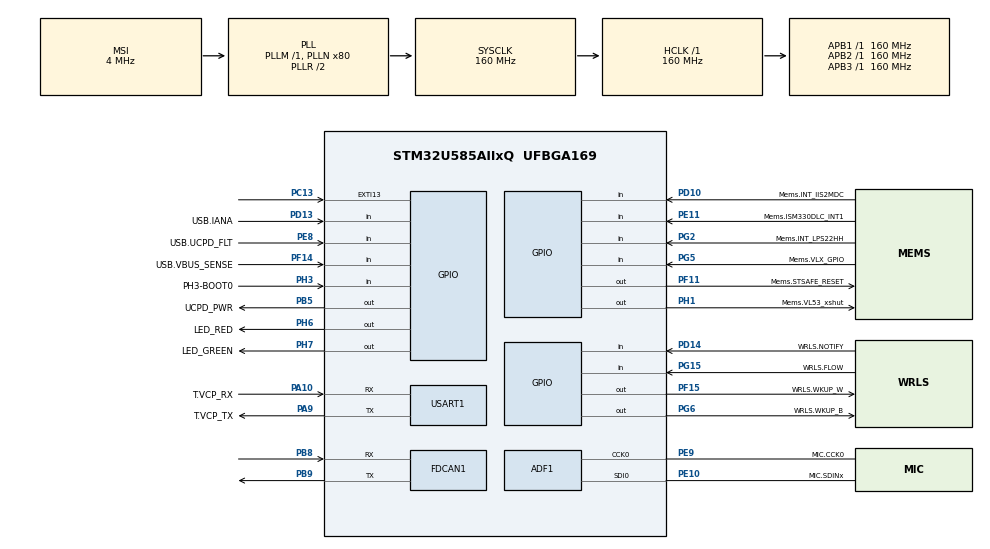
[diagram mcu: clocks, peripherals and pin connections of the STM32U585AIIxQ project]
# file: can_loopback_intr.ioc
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CORTEX_M33_NS.userName=CORTEX_M33
FDCAN1.CalculateBaudRateNominal=1000000
FDCAN1.CalculateTimeBitNominal=1000
FDCAN1.CalculateTimeQuantumNominal=50.0
FDCAN1.DataPrescaler=4
FDCAN1.DataTimeSeg1=15
FDCAN1.DataTimeSeg2=4
FDCAN1.Mode=FDCAN_MODE_EXTERNAL_LOOPBACK
FDCAN1.NominalPrescaler=8
FDCAN1.NominalSyncJumpWidth=1
FDCAN1.NominalTimeSeg1=15
FDCAN1.NominalTimeSeg2=4
Mcu.Family=STM32U5
Mcu.Name=STM32U585AIIxQ
Mcu.Package=UFBGA169
NVIC.EXTI13_IRQn=true\:0\:0\:false\:false\:true\:true\:true\:true
NVIC.FDCAN1_IT0_IRQn=true\:0\:0\:false\:false\:true\:true\:true\:true
NVIC.FDCAN1_IT1_IRQn=true\:0\:0\:false\:false\:true\:true\:true\:true
NVIC.PriorityGroup=NVIC_PRIORITYGROUP_4
PA10.GPIO_Label=T.VCP_RX
PA10.Mode=Asynchronous
PA10.Signal=USART1_RX
PA11.GPIO_Label=USB.C_P
PA11.Signal=USB_OTG_FS_DM
PA12.GPIO_Label=USB.C_P
PA12.Signal=USB_OTG_FS_DP
PA13\ (JTMS/SWDIO).GPIO_Label=T.SWDIO
PA13\ (JTMS/SWDIO).Mode=Trace_Asynchronous_SW
PA13\ (JTMS/SWDIO).Signal=DEBUG_JTMS-SWDIO
PA14\ (JTCK/SWCLK).GPIO_Label=T.SWCLK
PA14\ (JTCK/SWCLK).Mode=Trace_Asynchronous_SW
PA14\ (JTCK/SWCLK).Signal=DEBUG_JTCK-SWCLK
PA15\ (JTDI).GPIO_Label=USB.UCPD_CC1
PA15\ (JTDI).Signal=UCPD1_CC1
PA9.GPIO_Label=T.VCP_TX
PA9.Mode=Asynchronous
PA9.Signal=USART1_TX
PB1.GPIO_Label=MIC.SDIN0
PB1.Signal=MDF1_SDI0
PB10.GPIO_Label=OCTOSPI.R_CLK_P
PB10.Signal=OCTOSPIM_P1_CLK
PB11.GPIO_Label=OCTOSPI.R_NCS
PB11.Signal=OCTOSPIM_P1_NCS
PB12.GPIO_Label=WRLS.SPI2_NSS
PB12.Signal=SPI2_NSS
PB15.GPIO_Label=USB.UCPD_CC2
PB15.Signal=UCPD1_CC2
PB3\ (JTDO/TRACESWO).GPIO_Label=T.SWO
PB3\ (JTDO/TRACESWO).Mode=Trace_Asynchronous_SW
PB3\ (JTDO/TRACESWO).Signal=DEBUG_JTDO-SWO
PB5.GPIO_Label=UCPD_PWR
PB5.Signal=GPIO_Output
PB8.Mode=FDCAN_Activate
PB8.Signal=FDCAN1_RX
PB9.Mode=FDCAN_Activate
PB9.Signal=FDCAN1_TX
PC10.GPIO_Label=WRLS.UART4_TX
PC10.Signal=UART4_TX
PC11.GPIO_Label=WRLS.UART4_RX
PC11.Signal=UART4_RX
PC13.GPIO_ModeDefaultEXTI=GPIO_MODE_IT_FALLING
PC13.Signal=GPXTI13
PC14-OSC32_IN\ (PC14).GPIO_Label=PC14-OSC32_IN
PC14-OSC32_IN\ (PC14).Mode=LSE-External-Oscillator
PC14-OSC32_IN\ (PC14).Signal=RCC_OSC32_IN
PC15-OSC32_OUT\ (PC15).GPIO_Label=PC15-OSC32_OUT
PC15-OSC32_OUT\ (PC15).Mode=LSE-External-Oscillator
PC15-OSC32_OUT\ (PC15).Signal=RCC_OSC32_OUT
PC3.GPIO_Label=OCTOSPI.R_IO6
PC3.Signal=OCTOSPIM_P1_IO6
PD1.GPIO_Label=WRLS.SPI2_SCK
PD1.Signal=SPI2_SCK
PD10.GPIO_Label=Mems.INT_IIS2MDC
PD10.Signal=GPIO_Input
PD13.GPIO_Label=USB.IANA
PD13.Signal=GPIO_Input
PD14.GPIO_Label=WRLS.NOTIFY
PD14.Signal=GPIO_Input
PD3.GPIO_Label=WRLS.SPI2_MISO
PD3.Signal=SPI2_MISO
PD4.GPIO_Label=WRLS.SPI2_MOSI
PD4.Signal=SPI2_MOSI
PD7.GPIO_Label=OCTOSPI.R_IO7
PD7.Signal=OCTOSPIM_P1_IO7
PE10.GPIO_Label=MIC.SDINx
PE10.Mode=MOD_ADF_CCK
PE10.Signal=ADF1_SDI0
PE11.GPIO_Label=Mems.ISM330DLC_INT1
PE11.Signal=GPIO_Input
PE3.GPIO_Label=OCTOSPI.R_DQS
PE3.Signal=OCTOSPIM_P1_DQS
PE8.GPIO_Label=USB.UCPD_FLT
PE8.Signal=GPIO_Input
PE9.GPIO_Label=MIC.CCK0
PE9.Mode=MOD_MDF_CCK0
PE9.Signal=ADF1_CCK0
PF0.GPIO_Label=OCTOSPI.F_IO0
PF0.Signal=OCTOSPIM_P2_IO0
PF1.GPIO_Label=OCTOSPI.F_IO1
PF1.Signal=OCTOSPIM_P2_IO1
PF10.GPIO_Label=MIC.CCK1
PF10.Signal=MDF1_CCK1
PF11.GPIO_Label=Mems.STSAFE_RESET
PF11.Signal=GPIO_Output
PF12.GPIO_Label=OCTOSPI.F_DQS
PF12.Signal=OCTOSPIM_P2_DQS
PF14.GPIO_Label=USB.VBUS_SENSE
PF14.Signal=GPIO_Input
PF15.GPIO_Label=WRLS.WKUP_W
PF15.Signal=GPIO_Output
PF2.GPIO_Label=OCTOSPI.F_IO2
PF2.Signal=OCTOSPIM_P2_IO2
PF3.GPIO_Label=OCTOSPI.F_IO3
PF3.Signal=OCTOSPIM_P2_IO3
PF4.GPIO_Label=OCTOSPI.F_CLK_P
PF4.Signal=OCTOSPIM_P2_CLK
PF6.GPIO_Label=OCTOSPI.R_IO3
PF6.Signal=OCTOSPIM_P1_IO3
PF7.GPIO_Label=OCTOSPI.R_IO2
PF7.Signal=OCTOSPIM_P1_IO2
PF8.GPIO_Label=OCTOSPI.R_IO0
PF8.Signal=OCTOSPIM_P1_IO0
PF9.GPIO_Label=OCTOSPI.R_IO1
PF9.Signal=OCTOSPIM_P1_IO1
PG15.GPIO_Label=WRLS.FLOW
PG15.Signal=GPIO_Input
PG2.GPIO_Label=Mems.INT_LPS22HH
PG2.Signal=GPIO_Input
PG5.GPIO_Label=Mems.VLX_GPIO
PG5.Signal=GPIO_Input
PG6.GPIO_Label=WRLS.WKUP_B
PG6.Signal=GPIO_Output
PH1-OSC_OUT\ (PH1).GPIO_Label=Mems.VL53_xshut
PH1-OSC_OUT\ (PH1).Signal=GPIO_Output
PH10.GPIO_Label=OCTOSPI.F_IO5
PH10.Signal=OCTOSPIM_P2_IO5
PH11.GPIO_Label=OCTOSPI.F_IO6
PH11.Signal=OCTOSPIM_P2_IO6
PH12.GPIO_Label=OCTOSPI.F_IO7
PH12.Signal=OCTOSPIM_P2_IO7
PH2.GPIO_Label=OCTOSPI.R_IO4
PH2.Signal=OCTOSPIM_P1_IO4
PH3-BOOT0.GPIO_Label=PH3-BOOT0
PH3-BOOT0.Signal=GPIO_Input
PH4.Signal=I2C2_SCL
PH5.Signal=I2C2_SDA
PH6.GPIO_Label=LED_RED
PH6.Signal=GPIO_Output
PH7.GPIO_Label=LED_GREEN
PH7.Signal=GPIO_Output
PH9.GPIO_Label=OCTOSPI.F_IO4
PH9.Signal=OCTOSPIM_P2_IO4
PI0.GPIO_Label=OCTOSPI.R_IO5
PI0.Signal=OCTOSPIM_P1_IO5
PI5.GPIO_Label=OCTOSPI.F_NCS
PI5.Signal=OCTOSPIM_P2_NCS
PWR.PowerMode=PWR_SMPS_SUPPLY
ProjectManager.HeapSize=0x200
ProjectManager.StackSize=0x400
ProjectManager.TargetToolchain=STM32CubeIDE
RCC.ADCFreq_Value=16000000
RCC.AHBFreq_Value=160000000
RCC.APB1Freq_Value=160000000
RCC.APB1TimFreq_Value=160000000
RCC.APB2Freq_Value=160000000
RCC.APB2TimFreq_Value=160000000
RCC.APB3Freq_Value=160000000
RCC.CortexFreq_Value=160000000
RCC.DACCLockSelectionVirtual=RCC_DAC1CLKSOURCE_LSI
RCC.EPOD_VALUE=4000000
RCC.HCLKFreq_Value=160000000
RCC.HSE_VALUE=16000000
RCC.HSI48_VALUE=48000000
RCC.HSI_VALUE=16000000
RCC.LSIDIV_VALUE=32000
RCC.MSI_VALUE=4000000
RCC.PLLN=80
RCC.SYSCLKFreq_VALUE=160000000
RCC.SYSCLKSource=RCC_SYSCLKSOURCE_PLLCLK
RCC.USBFreq_Value=48000000
RCC.VCOOutputFreq_Value=320000000
USART1.VirtualMode-Asynchronous=VM_ASYNC
VP_ICACHE_VS_ICACHE.Mode=DirectMappedCache
VP_LPBAMQUEUE_VS_QUEUE.Mode=QUEUEMODE
VP_LPBAM_VS_SIG1.Mode=SmartRun
VP_LPBAM_VS_SIG4.Mode=LPDMA1
VP_MEMORYMAP_VS_MEMORYMAP.Mode=CurAppReg
VP_PWR_VS_DBSignals.Mode=DisableDeadBatterySignals
VP_PWR_VS_LPOM.Mode=PowerOptimisation
VP_PWR_VS_SECSignals.Mode=Security/Privilege
board=B-U585I-IOT02A

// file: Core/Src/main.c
/* USER CODE BEGIN Header */
/**
  ******************************************************************************
  * @file           : main.c
  * @brief          : Main program body
  ******************************************************************************
  * @attention
  *
  * Copyright (c) 2026 STMicroelectronics.
  * All rights reserved.
  *
  * This software is licensed under terms that can be found in the LICENSE file
  * in the root directory of this software component.
  * If no LICENSE file comes with this software, it is provided AS-IS.
  *
  ******************************************************************************
  */
/* USER CODE END Header */
#include "main.h"

/* USER CODE BEGIN Includes */
#include <stdio.h>
/* USER CODE END Includes */

MDF_HandleTypeDef AdfHandle0;
MDF_FilterConfigTypeDef AdfFilterConfig0;

FDCAN_HandleTypeDef hfdcan1;

UART_HandleTypeDef huart1;

/* USER CODE BEGIN PV */
static FDCAN_FilterTypeDef   sFilterConfig;
/* USER CODE END PV */

void SystemClock_Config(void);
static void SystemPower_Config(void);
static void MX_GPIO_Init(void);
static void MX_ADF1_Init(void);
static void MX_FDCAN1_Init(void);
static void MX_ICACHE_Init(void);
static void MX_USART1_UART_Init(void);

/* USER CODE BEGIN 0 */
int __io_putchar(int ch)
{
    /* Support printf over UART */
    (void)HAL_UART_Transmit(&huart1, (uint8_t*)&ch, 1, 0xFFFFU);
    return ch;
}

void my_fdcan1_transmit()
{
	FDCAN_TxHeaderTypeDef TxHeader;
	uint8_t TxData[] = {'C', 'A', 'N', 'I','S','F','U','N'}; // Example data

	// 1. Configure the TX Header
	TxHeader.Identifier = 0x111U;                // CAN ID
	TxHeader.IdType = FDCAN_STANDARD_ID; //standard or extended
	TxHeader.TxFrameType = FDCAN_DATA_FRAME; //data frame or request frame
	//TODO: Data length
	TxHeader.DataLength = FDCAN_DLC_BYTES_8;    // Length 4 bytes
	TxHeader.ErrorStateIndicator = FDCAN_ESI_ACTIVE;
	TxHeader.BitRateSwitch = FDCAN_BRS_OFF;     // No BRS for classic CAN
	TxHeader.FDFormat = FDCAN_CLASSIC_CAN;      // Classic or FD format
	TxHeader.TxEventFifoControl = FDCAN_NO_TX_EVENTS;
	TxHeader.MessageMarker = 0;

	// 2. Transmit the message
	if (HAL_FDCAN_AddMessageToTxFifoQ(&hfdcan1, &TxHeader, TxData) != HAL_OK)
	{
		printf("Stm32u585 Error calling HAL_FDCAN_AddMessageToTxFifoQ\r\n");
	  // Transmission error
	  Error_Handler();
	}
	// No need to poll, tx complete callback will be called in case of interrupts
//	while(HAL_FDCAN_IsTxBufferMessagePending(&hfdcan1, FDCAN_TX_BUFFER0 | FDCAN_TX_BUFFER1 | FDCAN_TX_BUFFER2) != 0);
//	printf("Stm32u585 Transmitted %lu bytes\r\n",TxHeader.DataLength);

}

void my_fdcan1_receive()
{
	FDCAN_RxHeaderTypeDef RxHeader;
	uint8_t RxData[16];

	/* check if FIFO 0 receive at least one message */
	while (HAL_FDCAN_GetRxFifoFillLevel(&hfdcan1, FDCAN_RX_FIFO0) < 1U);

	if(HAL_FDCAN_GetRxMessage(&hfdcan1, FDCAN_RX_FIFO0, &RxHeader, RxData) != HAL_OK)
	{
		printf("Stm32u585 Error calling HAL_FDCAN_GetRxMessage\r\n");
		Error_Handler();
	}
	else
	{
		printf("Message Received HAL_FDCAN_GetRxMessage\r\n");
		for(int i = 0; i < 8; ++i)
		{
			printf("RxData[%d] = %c\r\n",i,RxData[i]);
		}
	}
}

void my_config_filter()
{
	/* Configure Rx filter */
	sFilterConfig.IdType       = FDCAN_STANDARD_ID;
	sFilterConfig.FilterIndex  = 0U;
	sFilterConfig.FilterType   = FDCAN_FILTER_MASK;
	sFilterConfig.FilterConfig = FDCAN_FILTER_TO_RXFIFO0;
	sFilterConfig.FilterID1    = 0x111U;
	sFilterConfig.FilterID2    = 0x7FFU;
	if (HAL_FDCAN_ConfigFilter(&hfdcan1, &sFilterConfig) != HAL_OK) {
		printf("Stm32u585 Error calling HAL_FDCAN_ConfigFilter\r\n");
		Error_Handler();
	}
}

void HAL_GPIO_EXTI_Falling_Callback(uint16_t GPIO_Pin)
{
	printf("Stm32u585 User Button pressed\r\n");
	my_fdcan1_transmit();
}

void HAL_FDCAN_TxEventFifoCallback(FDCAN_HandleTypeDef *hfdcan, uint32_t TxEventFifoITs)
{
}

void HAL_FDCAN_RxFifo0Callback(FDCAN_HandleTypeDef *hfdcan, uint32_t RxFifo0ITs)
{
	printf("Stm32u585 Transmitted HAL_FDCAN_RxFifo0Callback\r\n");
	FDCAN_RxHeaderTypeDef RxHeader;
	uint8_t RxData[16];

	/* No need to poll */
	//while (HAL_FDCAN_GetRxFifoFillLevel(&hfdcan1, FDCAN_RX_FIFO0) < 1U);

	if(HAL_FDCAN_GetRxMessage(&hfdcan1, FDCAN_RX_FIFO0, &RxHeader, RxData) != HAL_OK)
	{
		printf("Stm32u585 Error calling HAL_FDCAN_GetRxMessage in ISR\r\n");
		Error_Handler();
	}
	else
	{
		printf("Message Received HAL_FDCAN_GetRxMessage in ISR\r\n");
		printf("Message:");
		for(int i = 0; i < 8; ++i)
		{
			printf("%c",RxData[i]);
		}
		printf("\r\n");
	}
}

void HAL_FDCAN_RxFifo1Callback(FDCAN_HandleTypeDef *hfdcan, uint32_t RxFifo1ITs)
{
	printf("Stm32u585 Transmitted HAL_FDCAN_RxFifo1Callback\r\n");
}

void HAL_FDCAN_TxFifoEmptyCallback(FDCAN_HandleTypeDef *hfdcan)
{
}

void HAL_FDCAN_TxBufferCompleteCallback(FDCAN_HandleTypeDef *hfdcan, uint32_t BufferIndexes)
{
	//printf("Stm32u585 Transmitted HAL_FDCAN_TxBufferCompleteCallback\r\n");
}

void HAL_FDCAN_TxBufferAbortCallback(FDCAN_HandleTypeDef *hfdcan, uint32_t BufferIndexes)
{
}
/* USER CODE END 0 */

int main(void)
{

  /* MCU Configuration--------------------------------------------------------*/

  /* Reset of all peripherals, Initializes the Flash interface and the Systick. */
  HAL_Init();

  /* Configure the System Power */
  SystemPower_Config();

  /* Configure the system clock */
  SystemClock_Config();

  /* Initialize all configured peripherals */
  MX_GPIO_Init();
  MX_ADF1_Init();
  MX_FDCAN1_Init();
  MX_ICACHE_Init();
  MX_USART1_UART_Init();

  /* Infinite loop */
  /* USER CODE BEGIN WHILE */

  /* Configure Config filter for Rx*/
  my_config_filter();

  /* Activate FDCAN interrupts */
  if (HAL_FDCAN_ActivateNotification(&hfdcan1, FDCAN_IT_RX_FIFO0_NEW_MESSAGE | FDCAN_IT_TX_COMPLETE, FDCAN_TX_BUFFER0 | FDCAN_TX_BUFFER1 | FDCAN_TX_BUFFER2) != HAL_OK)
  {
    Error_Handler();
  }
  /* Start the FDCANx module */
  if (HAL_FDCAN_Start(&hfdcan1) != HAL_OK)
  {
	  printf("Stm32u585 Error calling HAL_FDCAN_Start\r\n");
	  Error_Handler();
  }
  printf("Stm32u585 testing\r\n");

  // my_fdcan1_transmit();

  // my_fdcan1_receive();

  while (1)
  {
    /* USER CODE END WHILE */

  }
}

void SystemClock_Config(void)
{
  RCC_OscInitTypeDef RCC_OscInitStruct = {0};
  RCC_ClkInitTypeDef RCC_ClkInitStruct = {0};

  /** Configure the main internal regulator output voltage
  */
  if (HAL_PWREx_ControlVoltageScaling(PWR_REGULATOR_VOLTAGE_SCALE1) != HAL_OK)
  {
    Error_Handler();
  }

  /** Initializes the CPU, AHB and APB buses clocks
  */
  RCC_OscInitStruct.OscillatorType = RCC_OSCILLATORTYPE_MSI;
  RCC_OscInitStruct.MSIState = RCC_MSI_ON;
  RCC_OscInitStruct.MSICalibrationValue = RCC_MSICALIBRATION_DEFAULT;
  RCC_OscInitStruct.MSIClockRange = RCC_MSIRANGE_4;
  RCC_OscInitStruct.PLL.PLLState = RCC_PLL_ON;
  RCC_OscInitStruct.PLL.PLLSource = RCC_PLLSOURCE_MSI;
  RCC_OscInitStruct.PLL.PLLMBOOST = RCC_PLLMBOOST_DIV1;
  RCC_OscInitStruct.PLL.PLLM = 1;
  RCC_OscInitStruct.PLL.PLLN = 80;
  RCC_OscInitStruct.PLL.PLLP = 2;
  RCC_OscInitStruct.PLL.PLLQ = 2;
  RCC_OscInitStruct.PLL.PLLR = 2;
  RCC_OscInitStruct.PLL.PLLRGE = RCC_PLLVCIRANGE_0;
  RCC_OscInitStruct.PLL.PLLFRACN = 0;
  if (HAL_RCC_OscConfig(&RCC_OscInitStruct) != HAL_OK)
  {
    Error_Handler();
  }

  /** Initializes the CPU, AHB and APB buses clocks
  */
  RCC_ClkInitStruct.ClockType = RCC_CLOCKTYPE_HCLK|RCC_CLOCKTYPE_SYSCLK
                              |RCC_CLOCKTYPE_PCLK1|RCC_CLOCKTYPE_PCLK2
                              |RCC_CLOCKTYPE_PCLK3;
  RCC_ClkInitStruct.SYSCLKSource = RCC_SYSCLKSOURCE_PLLCLK;
  RCC_ClkInitStruct.AHBCLKDivider = RCC_SYSCLK_DIV1;
  RCC_ClkInitStruct.APB1CLKDivider = RCC_HCLK_DIV1;
  RCC_ClkInitStruct.APB2CLKDivider = RCC_HCLK_DIV1;
  RCC_ClkInitStruct.APB3CLKDivider = RCC_HCLK_DIV1;

  if (HAL_RCC_ClockConfig(&RCC_ClkInitStruct, FLASH_LATENCY_4) != HAL_OK)
  {
    Error_Handler();
  }
}

/**
  * @brief Power Configuration
  * @retval None
  */
static void SystemPower_Config(void)
{
  HAL_PWREx_EnableVddIO2();

  /*
   * Disable the internal Pull-Up in Dead Battery pins of UCPD peripheral
   */
  HAL_PWREx_DisableUCPDDeadBattery();

  /*
   * Switch to SMPS regulator instead of LDO
   */
  if (HAL_PWREx_ConfigSupply(PWR_SMPS_SUPPLY) != HAL_OK)
  {
    Error_Handler();
  }
}

static void MX_ADF1_Init(void)
{

  /**
    AdfHandle0 structure initialization and HAL_MDF_Init function call
  */
  AdfHandle0.Instance = ADF1_Filter0;
  AdfHandle0.Init.CommonParam.ProcClockDivider = 1;
  AdfHandle0.Init.CommonParam.OutputClock.Activation = DISABLE;
  AdfHandle0.Init.SerialInterface.Activation = ENABLE;
  AdfHandle0.Init.SerialInterface.Mode = MDF_SITF_LF_MASTER_SPI_MODE;
  AdfHandle0.Init.SerialInterface.ClockSource = MDF_SITF_CCK0_SOURCE;
  AdfHandle0.Init.SerialInterface.Threshold = 4;
  AdfHandle0.Init.FilterBistream = MDF_BITSTREAM0_FALLING;
  if (HAL_MDF_Init(&AdfHandle0) != HAL_OK)
  {
    Error_Handler();
  }

  /**
    AdfFilterConfig0 structure initialization

    WARNING : only structure is filled, no specific init function call for filter
  */
  AdfFilterConfig0.DataSource = MDF_DATA_SOURCE_BSMX;
  AdfFilterConfig0.Delay = 0;
  AdfFilterConfig0.CicMode = MDF_ONE_FILTER_SINC4;
  AdfFilterConfig0.DecimationRatio = 2;
  AdfFilterConfig0.Gain = 0;
  AdfFilterConfig0.ReshapeFilter.Activation = DISABLE;
  AdfFilterConfig0.HighPassFilter.Activation = DISABLE;
  AdfFilterConfig0.SoundActivity.Activation = DISABLE;
  AdfFilterConfig0.AcquisitionMode = MDF_MODE_ASYNC_CONT;
  AdfFilterConfig0.FifoThreshold = MDF_FIFO_THRESHOLD_NOT_EMPTY;
  AdfFilterConfig0.DiscardSamples = 0;

}

static void MX_FDCAN1_Init(void)
{

  hfdcan1.Instance = FDCAN1;
  hfdcan1.Init.ClockDivider = FDCAN_CLOCK_DIV1;
  hfdcan1.Init.FrameFormat = FDCAN_FRAME_CLASSIC;
  hfdcan1.Init.Mode = FDCAN_MODE_EXTERNAL_LOOPBACK;
  hfdcan1.Init.AutoRetransmission = DISABLE;
  hfdcan1.Init.TransmitPause = DISABLE;
  hfdcan1.Init.ProtocolException = DISABLE;
  hfdcan1.Init.NominalPrescaler = 8;
  hfdcan1.Init.NominalSyncJumpWidth = 1;
  hfdcan1.Init.NominalTimeSeg1 = 15;
  hfdcan1.Init.NominalTimeSeg2 = 4;
  hfdcan1.Init.DataPrescaler = 4;
  hfdcan1.Init.DataSyncJumpWidth = 1;
  hfdcan1.Init.DataTimeSeg1 = 15;
  hfdcan1.Init.DataTimeSeg2 = 4;
  hfdcan1.Init.StdFiltersNbr = 0;
  hfdcan1.Init.ExtFiltersNbr = 0;
  hfdcan1.Init.TxFifoQueueMode = FDCAN_TX_FIFO_OPERATION;
  if (HAL_FDCAN_Init(&hfdcan1) != HAL_OK)
  {
    Error_Handler();
  }

}

static void MX_ICACHE_Init(void)
{

  /** Enable instruction cache in 1-way (direct mapped cache)
  */
  if (HAL_ICACHE_ConfigAssociativityMode(ICACHE_1WAY) != HAL_OK)
  {
    Error_Handler();
  }
  if (HAL_ICACHE_Enable() != HAL_OK)
  {
    Error_Handler();
  }

}

static void MX_USART1_UART_Init(void)
{

  huart1.Instance = USART1;
  huart1.Init.BaudRate = 115200;
  huart1.Init.WordLength = UART_WORDLENGTH_8B;
  huart1.Init.StopBits = UART_STOPBITS_1;
  huart1.Init.Parity = UART_PARITY_NONE;
  huart1.Init.Mode = UART_MODE_TX_RX;
  huart1.Init.HwFlowCtl = UART_HWCONTROL_NONE;
  huart1.Init.OverSampling = UART_OVERSAMPLING_16;
  huart1.Init.OneBitSampling = UART_ONE_BIT_SAMPLE_DISABLE;
  huart1.Init.ClockPrescaler = UART_PRESCALER_DIV1;
  huart1.AdvancedInit.AdvFeatureInit = UART_ADVFEATURE_NO_INIT;
  if (HAL_UART_Init(&huart1) != HAL_OK)
  {
    Error_Handler();
  }
  if (HAL_UARTEx_SetTxFifoThreshold(&huart1, UART_TXFIFO_THRESHOLD_1_8) != HAL_OK)
  {
    Error_Handler();
  }
  if (HAL_UARTEx_SetRxFifoThreshold(&huart1, UART_RXFIFO_THRESHOLD_1_8) != HAL_OK)
  {
    Error_Handler();
  }
  if (HAL_UARTEx_DisableFifoMode(&huart1) != HAL_OK)
  {
    Error_Handler();
  }

}

static void MX_GPIO_Init(void)
{
  GPIO_InitTypeDef GPIO_InitStruct = {0};

  /* GPIO Ports Clock Enable */
  __HAL_RCC_GPIOG_CLK_ENABLE();
  __HAL_RCC_GPIOC_CLK_ENABLE();
  __HAL_RCC_GPIOA_CLK_ENABLE();
  __HAL_RCC_GPIOI_CLK_ENABLE();
  __HAL_RCC_GPIOH_CLK_ENABLE();
  __HAL_RCC_GPIOB_CLK_ENABLE();
  __HAL_RCC_GPIOD_CLK_ENABLE();
  __HAL_RCC_GPIOE_CLK_ENABLE();
  __HAL_RCC_GPIOF_CLK_ENABLE();

  /*Configure GPIO pin Output Level */
  HAL_GPIO_WritePin(UCPD_PWR_GPIO_Port, UCPD_PWR_Pin, GPIO_PIN_RESET);

  /*Configure GPIO pin Output Level */
  HAL_GPIO_WritePin(GPIOH, LED_RED_Pin|LED_GREEN_Pin|Mems_VL53_xshut_Pin, GPIO_PIN_RESET);

  /*Configure GPIO pin Output Level */
  HAL_GPIO_WritePin(WRLS_WKUP_B_GPIO_Port, WRLS_WKUP_B_Pin, GPIO_PIN_RESET);

  /*Configure GPIO pin Output Level */
  HAL_GPIO_WritePin(GPIOF, Mems_STSAFE_RESET_Pin|WRLS_WKUP_W_Pin, GPIO_PIN_RESET);

  /*Configure GPIO pins : WRLS_FLOW_Pin Mems_VLX_GPIO_Pin Mems_INT_LPS22HH_Pin */
  GPIO_InitStruct.Pin = WRLS_FLOW_Pin|Mems_VLX_GPIO_Pin|Mems_INT_LPS22HH_Pin;
  GPIO_InitStruct.Mode = GPIO_MODE_INPUT;
  GPIO_InitStruct.Pull = GPIO_NOPULL;
  HAL_GPIO_Init(GPIOG, &GPIO_InitStruct);

  /*Configure GPIO pins : WRLS_UART4_RX_Pin WRLS_UART4_TX_Pin */
  GPIO_InitStruct.Pin = WRLS_UART4_RX_Pin|WRLS_UART4_TX_Pin;
  GPIO_InitStruct.Mode = GPIO_MODE_AF_PP;
  GPIO_InitStruct.Pull = GPIO_NOPULL;
  GPIO_InitStruct.Speed = GPIO_SPEED_FREQ_LOW;
  GPIO_InitStruct.Alternate = GPIO_AF8_UART4;
  HAL_GPIO_Init(GPIOC, &GPIO_InitStruct);

  /*Configure GPIO pin : USB_UCPD_CC1_Pin */
  GPIO_InitStruct.Pin = USB_UCPD_CC1_Pin;
  GPIO_InitStruct.Mode = GPIO_MODE_ANALOG;
  GPIO_InitStruct.Pull = GPIO_NOPULL;
  HAL_GPIO_Init(USB_UCPD_CC1_GPIO_Port, &GPIO_InitStruct);

  /*Configure GPIO pin : OCTOSPI_F_NCS_Pin */
  GPIO_InitStruct.Pin = OCTOSPI_F_NCS_Pin;
  GPIO_InitStruct.Mode = GPIO_MODE_AF_PP;
  GPIO_InitStruct.Pull = GPIO_NOPULL;
  GPIO_InitStruct.Speed = GPIO_SPEED_FREQ_VERY_HIGH;
  GPIO_InitStruct.Alternate = GPIO_AF5_OCTOSPI2;
  HAL_GPIO_Init(OCTOSPI_F_NCS_GPIO_Port, &GPIO_InitStruct);

  /*Configure GPIO pin : OCTOSPI_R_IO5_Pin */
  GPIO_InitStruct.Pin = OCTOSPI_R_IO5_Pin;
  GPIO_InitStruct.Mode = GPIO_MODE_AF_PP;
  GPIO_InitStruct.Pull = GPIO_NOPULL;
  GPIO_InitStruct.Speed = GPIO_SPEED_FREQ_VERY_HIGH;
  GPIO_InitStruct.Alternate = GPIO_AF3_OCTOSPI1;
  HAL_GPIO_Init(OCTOSPI_R_IO5_GPIO_Port, &GPIO_InitStruct);

  /*Configure GPIO pins : OCTOSPI_F_IO7_Pin OCTOSPI_F_IO5_Pin OCTOSPI_F_IO6_Pin OCTOSPI_F_IO4_Pin */
  GPIO_InitStruct.Pin = OCTOSPI_F_IO7_Pin|OCTOSPI_F_IO5_Pin|OCTOSPI_F_IO6_Pin|OCTOSPI_F_IO4_Pin;
  GPIO_InitStruct.Mode = GPIO_MODE_AF_PP;
  GPIO_InitStruct.Pull = GPIO_NOPULL;
  GPIO_InitStruct.Speed = GPIO_SPEED_FREQ_VERY_HIGH;
  GPIO_InitStruct.Alternate = GPIO_AF5_OCTOSPI2;
  HAL_GPIO_Init(GPIOH, &GPIO_InitStruct);

  /*Configure GPIO pin : PH3_BOOT0_Pin */
  GPIO_InitStruct.Pin = PH3_BOOT0_Pin;
  GPIO_InitStruct.Mode = GPIO_MODE_INPUT;
  GPIO_InitStruct.Pull = GPIO_NOPULL;
  HAL_GPIO_Init(PH3_BOOT0_GPIO_Port, &GPIO_InitStruct);

  /*Configure GPIO pin : UCPD_PWR_Pin */
  GPIO_InitStruct.Pin = UCPD_PWR_Pin;
  GPIO_InitStruct.Mode = GPIO_MODE_OUTPUT_PP;
  GPIO_InitStruct.Pull = GPIO_NOPULL;
  GPIO_InitStruct.Speed = GPIO_SPEED_FREQ_LOW;
  HAL_GPIO_Init(UCPD_PWR_GPIO_Port, &GPIO_InitStruct);

  /*Configure GPIO pins : WRLS_SPI2_MOSI_Pin WRLS_SPI2_MISO_Pin WRLS_SPI2_SCK_Pin */
  GPIO_InitStruct.Pin = WRLS_SPI2_MOSI_Pin|WRLS_SPI2_MISO_Pin|WRLS_SPI2_SCK_Pin;
  GPIO_InitStruct.Mode = GPIO_MODE_AF_PP;
  GPIO_InitStruct.Pull = GPIO_NOPULL;
  GPIO_InitStruct.Speed = GPIO_SPEED_FREQ_LOW;
  GPIO_InitStruct.Alternate = GPIO_AF5_SPI2;
  HAL_GPIO_Init(GPIOD, &GPIO_InitStruct);

  /*Configure GPIO pin : OCTOSPI_R_DQS_Pin */
  GPIO_InitStruct.Pin = OCTOSPI_R_DQS_Pin;
  GPIO_InitStruct.Mode = GPIO_MODE_AF_PP;
  GPIO_InitStruct.Pull = GPIO_NOPULL;
  GPIO_InitStruct.Speed = GPIO_SPEED_FREQ_VERY_HIGH;
  GPIO_InitStruct.Alternate = GPIO_AF3_OCTOSPI1;
  HAL_GPIO_Init(OCTOSPI_R_DQS_GPIO_Port, &GPIO_InitStruct);

  /*Configure GPIO pin : OCTOSPI_R_IO7_Pin */
  GPIO_InitStruct.Pin = OCTOSPI_R_IO7_Pin;
  GPIO_InitStruct.Mode = GPIO_MODE_AF_PP;
  GPIO_InitStruct.Pull = GPIO_NOPULL;
  GPIO_InitStruct.Speed = GPIO_SPEED_FREQ_VERY_HIGH;
  GPIO_InitStruct.Alternate = GPIO_AF10_OCTOSPI1;
  HAL_GPIO_Init(OCTOSPI_R_IO7_GPIO_Port, &GPIO_InitStruct);

  /*Configure GPIO pins : OCTOSPI_F_IO0_Pin OCTOSPI_F_IO1_Pin OCTOSPI_F_IO2_Pin OCTOSPI_F_IO3_Pin
                           OCTOSPI_F_CLK_P_Pin OCTOSPI_F_DQS_Pin */
  GPIO_InitStruct.Pin = OCTOSPI_F_IO0_Pin|OCTOSPI_F_IO1_Pin|OCTOSPI_F_IO2_Pin|OCTOSPI_F_IO3_Pin
                          |OCTOSPI_F_CLK_P_Pin|OCTOSPI_F_DQS_Pin;
  GPIO_InitStruct.Mode = GPIO_MODE_AF_PP;
  GPIO_InitStruct.Pull = GPIO_NOPULL;
  GPIO_InitStruct.Speed = GPIO_SPEED_FREQ_VERY_HIGH;
  GPIO_InitStruct.Alternate = GPIO_AF5_OCTOSPI2;
  HAL_GPIO_Init(GPIOF, &GPIO_InitStruct);

  /*Configure GPIO pin : PC13 */
  GPIO_InitStruct.Pin = GPIO_PIN_13;
  GPIO_InitStruct.Mode = GPIO_MODE_IT_FALLING;
  GPIO_InitStruct.Pull = GPIO_NOPULL;
  HAL_GPIO_Init(GPIOC, &GPIO_InitStruct);

  /*Configure GPIO pins : PH4 PH5 */
  GPIO_InitStruct.Pin = GPIO_PIN_4|GPIO_PIN_5;
  GPIO_InitStruct.Mode = GPIO_MODE_AF_OD;
  GPIO_InitStruct.Pull = GPIO_NOPULL;
  GPIO_InitStruct.Speed = GPIO_SPEED_FREQ_LOW;
  GPIO_InitStruct.Alternate = GPIO_AF4_I2C2;
  HAL_GPIO_Init(GPIOH, &GPIO_InitStruct);

  /*Configure GPIO pins : LED_RED_Pin LED_GREEN_Pin Mems_VL53_xshut_Pin */
  GPIO_InitStruct.Pin = LED_RED_Pin|LED_GREEN_Pin|Mems_VL53_xshut_Pin;
  GPIO_InitStruct.Mode = GPIO_MODE_OUTPUT_PP;
  GPIO_InitStruct.Pull = GPIO_NOPULL;
  GPIO_InitStruct.Speed = GPIO_SPEED_FREQ_LOW;
  HAL_GPIO_Init(GPIOH, &GPIO_InitStruct);

  /*Configure GPIO pins : OCTOSPI_R_IO0_Pin OCTOSPI_R_IO2_Pin OCTOSPI_R_IO1_Pin OCTOSPI_R_IO3_Pin */
  GPIO_InitStruct.Pin = OCTOSPI_R_IO0_Pin|OCTOSPI_R_IO2_Pin|OCTOSPI_R_IO1_Pin|OCTOSPI_R_IO3_Pin;
  GPIO_InitStruct.Mode = GPIO_MODE_AF_PP;
  GPIO_InitStruct.Pull = GPIO_NOPULL;
  GPIO_InitStruct.Speed = GPIO_SPEED_FREQ_VERY_HIGH;
  GPIO_InitStruct.Alternate = GPIO_AF10_OCTOSPI1;
  HAL_GPIO_Init(GPIOF, &GPIO_InitStruct);

  /*Configure GPIO pin : OCTOSPI_R_IO4_Pin */
  GPIO_InitStruct.Pin = OCTOSPI_R_IO4_Pin;
  GPIO_InitStruct.Mode = GPIO_MODE_AF_PP;
  GPIO_InitStruct.Pull = GPIO_NOPULL;
  GPIO_InitStruct.Speed = GPIO_SPEED_FREQ_VERY_HIGH;
  GPIO_InitStruct.Alternate = GPIO_AF3_OCTOSPI1;
  HAL_GPIO_Init(OCTOSPI_R_IO4_GPIO_Port, &GPIO_InitStruct);

  /*Configure GPIO pins : USB_C_P_Pin USB_C_PA11_Pin */
  GPIO_InitStruct.Pin = USB_C_P_Pin|USB_C_PA11_Pin;
  GPIO_InitStruct.Mode = GPIO_MODE_AF_PP;
  GPIO_InitStruct.Pull = GPIO_NOPULL;
  GPIO_InitStruct.Speed = GPIO_SPEED_FREQ_LOW;
  GPIO_InitStruct.Alternate = GPIO_AF10_USB;
  HAL_GPIO_Init(GPIOA, &GPIO_InitStruct);

  /*Configure GPIO pin : MIC_CCK1_Pin */
  GPIO_InitStruct.Pin = MIC_CCK1_Pin;
  GPIO_InitStruct.Mode = GPIO_MODE_AF_PP;
  GPIO_InitStruct.Pull = GPIO_NOPULL;
  GPIO_InitStruct.Speed = GPIO_SPEED_FREQ_LOW;
  GPIO_InitStruct.Alternate = GPIO_AF6_MDF1;
  HAL_GPIO_Init(MIC_CCK1_GPIO_Port, &GPIO_InitStruct);

  /*Configure GPIO pin : WRLS_WKUP_B_Pin */
  GPIO_InitStruct.Pin = WRLS_WKUP_B_Pin;
  GPIO_InitStruct.Mode = GPIO_MODE_OUTPUT_PP;
  GPIO_InitStruct.Pull = GPIO_NOPULL;
  GPIO_InitStruct.Speed = GPIO_SPEED_FREQ_LOW;
  HAL_GPIO_Init(WRLS_WKUP_B_GPIO_Port, &GPIO_InitStruct);

  /*Configure GPIO pins : WRLS_NOTIFY_Pin Mems_INT_IIS2MDC_Pin USB_IANA_Pin */
  GPIO_InitStruct.Pin = WRLS_NOTIFY_Pin|Mems_INT_IIS2MDC_Pin|USB_IANA_Pin;
  GPIO_InitStruct.Mode = GPIO_MODE_INPUT;
  GPIO_InitStruct.Pull = GPIO_NOPULL;
  HAL_GPIO_Init(GPIOD, &GPIO_InitStruct);

  /*Configure GPIO pin : OCTOSPI_R_IO6_Pin */
  GPIO_InitStruct.Pin = OCTOSPI_R_IO6_Pin;
  GPIO_InitStruct.Mode = GPIO_MODE_AF_PP;
  GPIO_InitStruct.Pull = GPIO_NOPULL;
  GPIO_InitStruct.Speed = GPIO_SPEED_FREQ_VERY_HIGH;
  GPIO_InitStruct.Alternate = GPIO_AF10_OCTOSPI1;
  HAL_GPIO_Init(OCTOSPI_R_IO6_GPIO_Port, &GPIO_InitStruct);

  /*Configure GPIO pins : USB_UCPD_FLT_Pin Mems_ISM330DLC_INT1_Pin */
  GPIO_InitStruct.Pin = USB_UCPD_FLT_Pin|Mems_ISM330DLC_INT1_Pin;
  GPIO_InitStruct.Mode = GPIO_MODE_INPUT;
  GPIO_InitStruct.Pull = GPIO_NOPULL;
  HAL_GPIO_Init(GPIOE, &GPIO_InitStruct);

  /*Configure GPIO pins : OCTOSPI_R_CLK_P_Pin OCTOSPI_R_NCS_Pin */
  GPIO_InitStruct.Pin = OCTOSPI_R_CLK_P_Pin|OCTOSPI_R_NCS_Pin;
  GPIO_InitStruct.Mode = GPIO_MODE_AF_PP;
  GPIO_InitStruct.Pull = GPIO_NOPULL;
  GPIO_InitStruct.Speed = GPIO_SPEED_FREQ_VERY_HIGH;
  GPIO_InitStruct.Alternate = GPIO_AF10_OCTOSPI1;
  HAL_GPIO_Init(GPIOB, &GPIO_InitStruct);

  /*Configure GPIO pin : USB_VBUS_SENSE_Pin */
  GPIO_InitStruct.Pin = USB_VBUS_SENSE_Pin;
  GPIO_InitStruct.Mode = GPIO_MODE_INPUT;
  GPIO_InitStruct.Pull = GPIO_NOPULL;
  HAL_GPIO_Init(USB_VBUS_SENSE_GPIO_Port, &GPIO_InitStruct);

  /*Configure GPIO pin : WRLS_SPI2_NSS_Pin */
  GPIO_InitStruct.Pin = WRLS_SPI2_NSS_Pin;
  GPIO_InitStruct.Mode = GPIO_MODE_AF_PP;
  GPIO_InitStruct.Pull = GPIO_NOPULL;
  GPIO_InitStruct.Speed = GPIO_SPEED_FREQ_LOW;
  GPIO_InitStruct.Alternate = GPIO_AF5_SPI2;
  HAL_GPIO_Init(WRLS_SPI2_NSS_GPIO_Port, &GPIO_InitStruct);

  /*Configure GPIO pin : USB_UCPD_CC2_Pin */
  GPIO_InitStruct.Pin = USB_UCPD_CC2_Pin;
  GPIO_InitStruct.Mode = GPIO_MODE_ANALOG;
  GPIO_InitStruct.Pull = GPIO_NOPULL;
  HAL_GPIO_Init(USB_UCPD_CC2_GPIO_Port, &GPIO_InitStruct);

  /*Configure GPIO pins : Mems_STSAFE_RESET_Pin WRLS_WKUP_W_Pin */
  GPIO_InitStruct.Pin = Mems_STSAFE_RESET_Pin|WRLS_WKUP_W_Pin;
  GPIO_InitStruct.Mode = GPIO_MODE_OUTPUT_PP;
  GPIO_InitStruct.Pull = GPIO_NOPULL;
  GPIO_InitStruct.Speed = GPIO_SPEED_FREQ_LOW;
  HAL_GPIO_Init(GPIOF, &GPIO_InitStruct);

  /*Configure GPIO pin : MIC_SDIN0_Pin */
  GPIO_InitStruct.Pin = MIC_SDIN0_Pin;
  GPIO_InitStruct.Mode = GPIO_MODE_AF_PP;
  GPIO_InitStruct.Pull = GPIO_NOPULL;
  GPIO_InitStruct.Speed = GPIO_SPEED_FREQ_LOW;
  GPIO_InitStruct.Alternate = GPIO_AF6_MDF1;
  HAL_GPIO_Init(MIC_SDIN0_GPIO_Port, &GPIO_InitStruct);

  /* EXTI interrupt init*/
  HAL_NVIC_SetPriority(EXTI13_IRQn, 0, 0);
  HAL_NVIC_EnableIRQ(EXTI13_IRQn);

}

void Error_Handler(void)
{
  __disable_irq();
  while (1)
  {
  }
}
